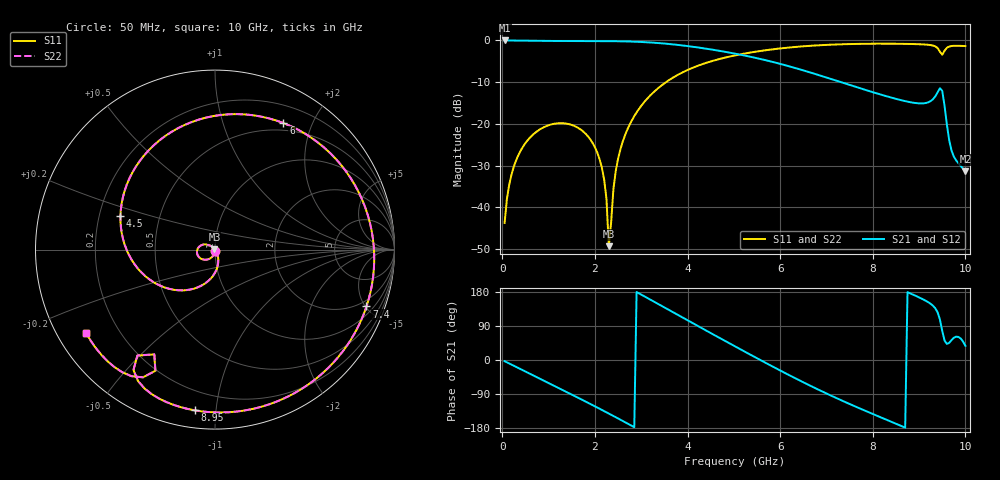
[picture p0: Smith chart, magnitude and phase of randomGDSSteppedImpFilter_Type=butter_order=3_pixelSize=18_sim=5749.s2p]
! freq	dB(S11)	phase(S11)	dB(S12)	phase(S12)
!  dB(S21)	phase(S21)	dB(S22)	phase(S22)
!S-par simulation data
#  GHz  S  DB  R 50
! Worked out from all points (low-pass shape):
!   200 points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, 50 MHz to 10 GHz, reference 50 ohm
!   highest |S21| = -0.01 dB at 50 MHz (marker M1); lowest = -31.4 dB at 10 GHz (marker M2)
!   |S21| within 3 dB of the highest: start of sweep to 4.95 GHz
!   lowest |S11| = -49.3 dB at 2.3 GHz (marker M3), VSWR 1.01, Z = 49.7 + j0.0746 ohm
!   |S11| at or under -10 dB: start of sweep to 3.535 GHz
!   |S22| runs from -48.7 to -0.8 dB; largest |S21 - S12| = 0
!   S11 on the Smith chart (normalised r, x): 50 MHz: 1.00, -0.01; 4.5 GHz: 0.29, +0.16; 6 GHz: 0.41, +1.60; 7.4 GHz: 1.50, -5.08; 8.95 GHz: 0.09, -0.88; 10 GHz: 0.08, -0.30
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0.05  -43.75 -90.9  -0.01 -3.1  -0.01 -3.1  -43.80 -89.9
0.2  -32.10 -101.5  -0.02 -12.3  -0.02 -12.3  -32.09 -101.4
0.55  -23.90 -123.8  -0.06 -33.5  -0.06 -33.5  -23.90 -123.8
1.15  -19.92 -160.6  -0.13 -69.9  -0.13 -69.9  -19.92 -160.5
1.75  -21.86 162.6  -0.16 -106.6  -0.16 -106.6  -21.86 162.9
2.15  -30.50 137.9  -0.16 -131.7  -0.16 -131.7  -30.51 139.1
2.25  -38.04 132.7  -0.17 -138.1  -0.17 -138.1  -38.03 135.7
2.3  -49.32 167.3  -0.17 -141.3  -0.17 -141.3  -48.67 168.0
2.45  -31.30 -63.0  -0.19 -151.0  -0.19 -151.0  -31.30 -64.5
2.6  -24.28 -72.3  -0.22 -160.8  -0.22 -160.8  -24.29 -73.0
3.4  -11.13 -125.5  -0.65 145.6  -0.65 145.6  -11.13 -125.7
3.95  -7.34 -162.7  -1.28 108.2  -1.28 108.2  -7.34 -162.8
4.5  -5.04 160.3  -2.15 71.1  -2.15 71.1  -5.04 160.2
5.05  -3.53 123.6  -3.22 34.3  -3.22 34.3  -3.53 123.5
6  -1.92 61.6  -5.62 -27.7  -5.62 -27.7  -1.92 61.6
6.7  -1.25 18.6  -7.85 -70.9  -7.85 -70.9  -1.25 18.6
7.4  -0.90 -20.6  -10.31 -110.7  -10.31 -110.7  -0.90 -20.5
8.35  -0.78 -68.1  -13.55 -160.4  -13.55 -160.4  -0.78 -68.1
8.95  -0.89 -97.1  -15.04 168.1  -15.04 168.1  -0.89 -97.1
9.5  -3.41 -120.1  -12.08 76.7  -12.08 76.7  -3.43 -120.1
9.7  -1.34 -127.3  -26.38 52.4  -26.38 52.4  -1.34 -127.2
10  -1.35 -146.9  -31.37 37.3  -31.37 37.3  -1.35 -146.9
